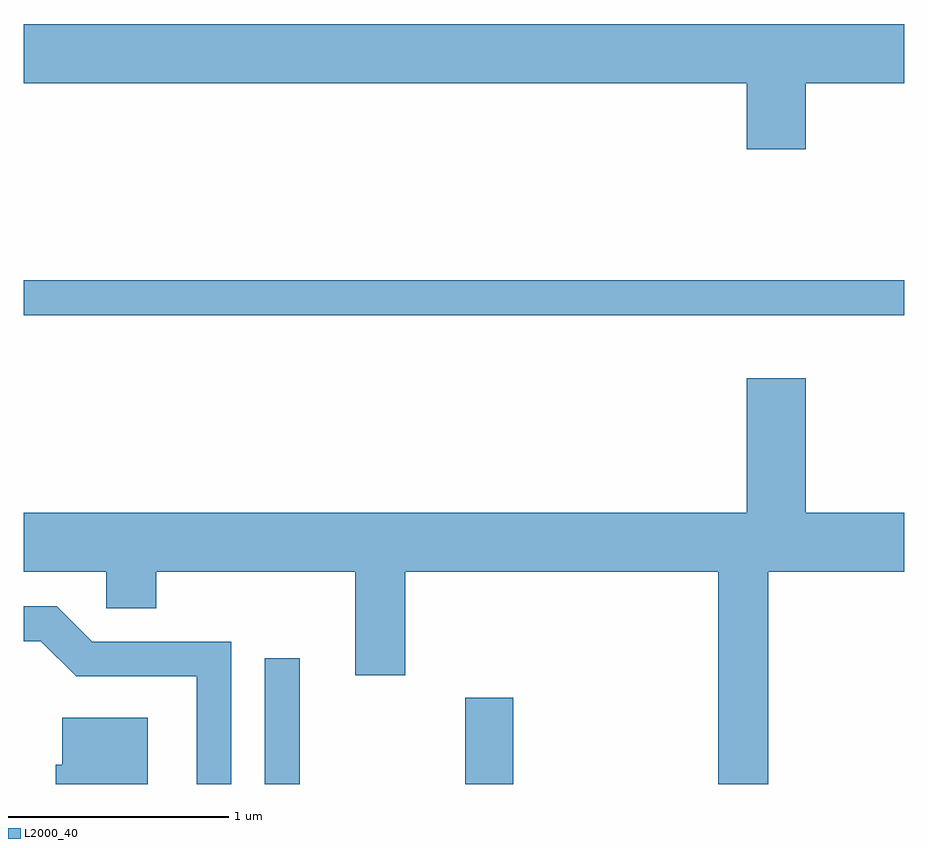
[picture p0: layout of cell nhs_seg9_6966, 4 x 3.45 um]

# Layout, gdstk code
import gdstk
lib = gdstk.Library(unit=1e-6, precision=1e-09)
def R(c, l, rs):  # rectangles x0, y0, x1, y1
    for r in rs: c.add(gdstk.rectangle(r[:2], r[2:], *l))
def P(c, l, *ps):  # polygons
    for p in ps: c.add(gdstk.Polygon(p, *l))
L2000_40 = (2000, 40)

nhs_seg9_6966 = lib.new_cell('nhs_seg9_6966')
R(nhs_seg9_6966, L2000_40, [(392.706,1966.432,392.864,1967.003), (393.616,1966.432,393.834,1966.824), (391.611,1968.561,395.611,1968.719)])
P(nhs_seg9_6966, L2000_40, [(395.164,1969.616),(395.611,1969.616),(395.611,1969.884),(391.611,1969.884),(391.611,1969.616),(394.896,1969.616),(394.896,1969.316),(395.164,1969.316)],
  [(391.611,1967.396),(391.986,1967.396),(391.986,1967.231),(392.214,1967.231),(392.214,1967.396),(393.116,1967.396),(393.116,1966.926),(393.344,1966.926),(393.344,1967.396),(394.766,1967.396),(394.766,1966.432),(394.994,1966.432),(394.994,1967.396),(395.611,1967.396),(395.611,1967.664),(395.164,1967.664),(395.164,1968.274),(394.896,1968.274),(394.896,1967.664),(391.611,1967.664)],
  [(392.554,1967.079),(391.922,1967.079),(391.762,1967.239),(391.611,1967.239),(391.611,1967.081),(391.689,1967.081),(391.849,1966.921),(392.396,1966.921),(392.396,1966.432),(392.554,1966.432)],
  [(392.174,1966.734),(391.786,1966.734),(391.786,1966.519),(391.756,1966.519),(391.756,1966.432),(392.174,1966.432)])

lib.write_gds('nhs_seg9_6966.gds')
